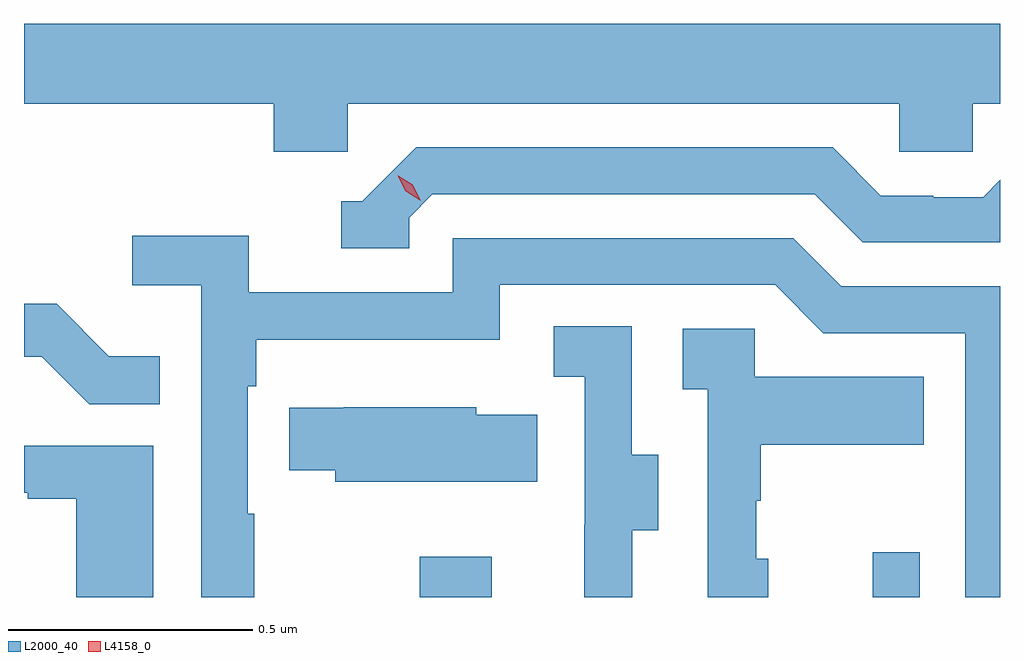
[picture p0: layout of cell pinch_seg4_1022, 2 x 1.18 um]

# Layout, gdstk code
import gdstk
lib = gdstk.Library(unit=1e-6, precision=1e-09)
def R(c, l, rs):  # rectangles x0, y0, x1, y1
    for r in rs: c.add(gdstk.rectangle(r[:2], r[2:], *l))
def P(c, l, *ps):  # polygons
    for p in ps: c.add(gdstk.Polygon(p, *l))
L2000_40 = (2000, 40)
L4158_0 = (4158, 0)

pinch_seg4_1022 = lib.new_cell('pinch_seg4_1022')
R(pinch_seg4_1022, L2000_40, [(795.64,777.161,795.787,777.244), (796.568,777.161,796.665,777.253)])
P(pinch_seg4_1022, L2000_40, [(795.492,778.172),(796.623,778.172),(796.623,778.074),(796.773,778.074),(796.773,778.172),(796.829,778.172),(796.829,778.336),(794.829,778.336),(794.829,778.172),(795.341,778.172),(795.341,778.074),(795.492,778.074)],
  [(795.618,777.939),(795.666,777.987),(796.449,777.987),(796.548,777.888),(796.829,777.888),(796.829,778.016),(796.795,777.981),(796.692,777.981),(796.692,777.984),(796.585,777.984),(796.486,778.083),(795.633,778.083),(795.522,777.972),(795.479,777.972),(795.479,777.876),(795.618,777.876)],
  [(795.301,777.332),(795.288,777.332),(795.288,777.593),(795.305,777.593),(795.305,777.689),(795.804,777.689),(795.804,777.801),(796.368,777.801),(796.467,777.702),(796.758,777.702),(796.758,777.161),(796.829,777.161),(796.829,777.798),(796.504,777.798),(796.405,777.897),(795.708,777.897),(795.708,777.786),(795.29,777.786),(795.29,777.902),(795.051,777.902),(795.051,777.8),(795.192,777.8),(795.192,777.161),(795.301,777.161)],
  [(795.107,777.655),(795.003,777.655),(794.896,777.762),(794.829,777.762),(794.829,777.654),(794.865,777.654),(794.963,777.556),(795.107,777.556)],
  [(796.075,777.298),(796.129,777.298),(796.129,777.453),(796.074,777.453),(796.074,777.716),(795.915,777.716),(795.915,777.613),(795.978,777.613),(795.978,777.309),(795.977,777.309),(795.977,777.161),(796.075,777.161)],
  [(796.354,777.24),(796.329,777.24),(796.329,777.359),(796.339,777.359),(796.339,777.473),(796.673,777.473),(796.673,777.613),(796.326,777.613),(796.326,777.711),(796.179,777.711),(796.179,777.587),(796.23,777.587),(796.23,777.161),(796.354,777.161)],
  [(795.881,777.535),(795.756,777.535),(795.756,777.55),(795.484,777.55),(795.484,777.549),(795.373,777.549),(795.373,777.421),(795.467,777.421),(795.467,777.398),(795.881,777.398)],
  [(795.094,777.471),(794.829,777.471),(794.829,777.375),(794.837,777.375),(794.837,777.363),(794.936,777.363),(794.936,777.161),(795.094,777.161)])
P(pinch_seg4_1022, L4158_0, [(795.642,777.973),(795.611,777.993),(795.595,778.025),(795.595,778.025),(795.596,778.025),(795.626,778.006),(795.642,777.973),(795.642,777.973)])

lib.write_gds('pinch_seg4_1022.gds')
